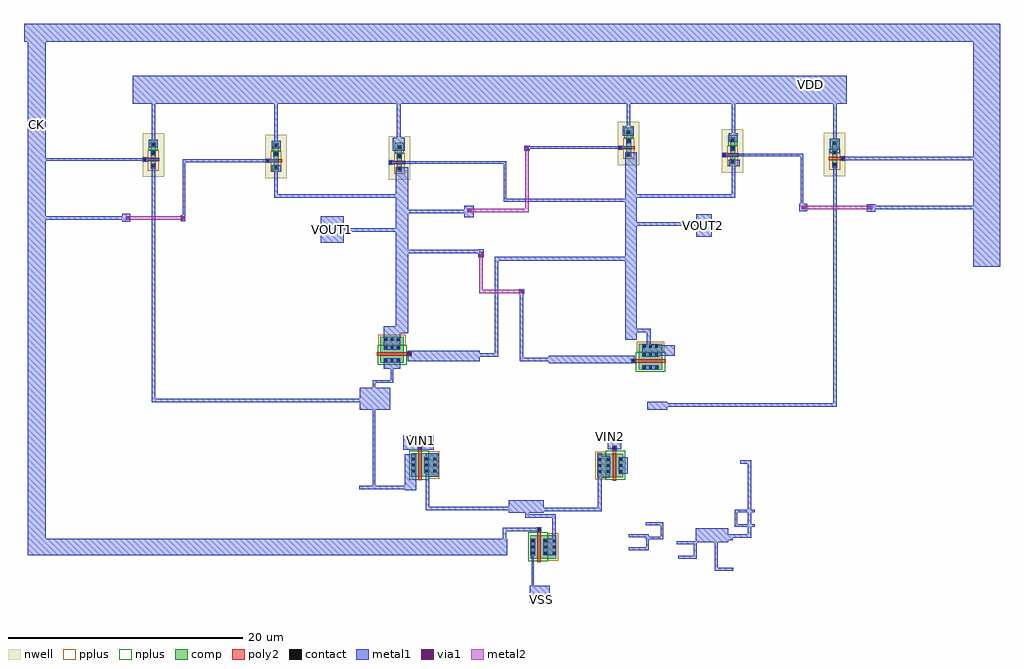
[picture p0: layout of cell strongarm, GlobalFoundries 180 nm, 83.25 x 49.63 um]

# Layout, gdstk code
from math import pi, radians
import gdstk
lib = gdstk.Library(unit=1e-6, precision=5e-09)
def R(c, l, rs):  # rectangles x0, y0, x1, y1
    for r in rs: c.add(gdstk.rectangle(r[:2], r[2:], *l))
def A(c, l, x, y, w, h, nx, ny, dx, dy):  # array of equal rectangles
    R(c, l, [(x+i*dx, y+j*dy, x+i*dx+w, y+j*dy+h) for i in range(nx) for j in range(ny)])
nwell = (21, 0)
comp = (22, 0)
poly2 = (30, 0)
pplus = (31, 0)
nplus = (32, 0)
contact = (33, 0)
metal1 = (34, 0)
via1 = (35, 0)
metal2 = (36, 0)

nfet = lib.new_cell('nfet')
R(nfet, comp, [(-0.42,0,0,2), (0,0,0.66,2), (0.66,0,1.08,2), (1.08,0,1.79,2)])
R(nfet, poly2, [(0.19,-0.3,0.47,2.3), (0.15,2.3,0.51,2.66)])
R(nfet, pplus, [(1.08,-0.17,1.96,2.17)])
R(nfet, nplus, [(-0.59,-0.24,1.08,2.24)])
A(nfet, contact, -0.32, 0.38, 0.22, 0.22, 1, 3, 0, 0.51)
A(nfet, contact, 0.76, 0.38, 0.22, 0.22, 1, 3, 0, 0.51)
A(nfet, contact, 1.47, 0.38, 0.22, 0.22, 1, 3, 0, 0.51)
R(nfet, contact, [(0.22,2.37,0.44,2.59)])
R(nfet, metal1, [(-0.4,0.3,-0.02,1.7), (0.68,0.3,1.06,1.7), (1.39,0.3,1.77,1.7), (0.14,2.29,0.52,2.67)])

pfet = lib.new_cell('pfet')
R(pfet, nwell, [(-1.16,-0.71,2.55,1.13)])
R(pfet, comp, [(-0.46,-0.01,0,0.43), (0.66,-0.01,1.12,0.43), (1.12,-0.01,1.85,0.43), (0,0,0.66,0.42)])
R(pfet, poly2, [(0.19,-0.3,0.47,0.72), (0.14,0.72,0.52,1.1)])
R(pfet, pplus, [(-0.63,-0.25,1.12,0.67)])
R(pfet, nplus, [(1.12,-0.17,2.02,0.59)])
R(pfet, contact, [(-0.34,0.1,-0.12,0.32), (0.78,0.1,1,0.32), (1.51,0.1,1.73,0.32), (0.22,0.8,0.44,1.02)])
R(pfet, metal1, [(-0.42,0.02,-0.04,0.4), (0.7,0.02,1.08,0.4), (1.43,0.02,1.81,0.4), (0.14,0.72,0.52,1.1)])

strongarm = lib.new_cell('strongarm')
R(strongarm, metal1, [(3.12,-19.96,4.85,-18.46), (-39.71,-15.84,-7.19,-14.44), (-39.71,-15.84,-38.17,29.5), (-11.31,-15.84,1.22,-14.44), (4.47,-15.84,5.37,-14.44), (17.29,-14.75,20.07,-13.56), (1.35,-12.22,4.33,-11.18), (-7.52,-10.31,-6.56,-7.23), (8.93,-9.23,9.97,-7.36), (-5.735,-9.16,-4.63,-7.16), (10.71,-8.88,11.47,-7.48), (-7.66,-6.87,-5.07,-5.6), (9.79,-6.8,10.92,-5.53), (13.14,-3.45,14.85,-2.77), (-11.36,-3.44,-8.75,-1.57), (-9.31,0.04,-7.91,0.96), (4.76,0.53,12.1,1.15), (-7.29,0.68,-1.14,1.59), (12.73,1.16,15.51,2.08), (-9.31,1.66,-7.91,3.69), (11.26,2.52,12.27,18.51), (-8.29,3.09,-7.22,17.25), (2.2,6.4,2.65,6.85), (40.95,8.76,43.24,29.5), (-1.25,9.55,-0.78,10.24), (-14.7,10.82,-12.74,13.08), (17.31,11.31,18.64,13.23), (-31.62,12.58,-30.93,13.26), (-26.62,12.65,-26.24,13.14), (-2.47,13,-1.66,13.98), (31.87,13.44,32.58,14.1), (26.11,13.5,26.82,14.14), (-18.87,16.84,-18.05,17.4), (20.11,17.32,21.03,17.89), (28.7,18.43,29.56,19.68), (2.65,18.64,3.13,19.07), (-8.56,18.65,-7.53,19.76), (-18.89,18.88,-18.13,19.49), (-29.36,18.95,-28.6,19.53), (28.77,19.03,29.53,19.67), (20.11,19.41,20.87,20.15), (11.08,19.92,12.02,20.76), (-30.73,22.67,30.18,25.07), (-40.01,27.97,43.24,29.5)])
R(strongarm, via1, [(2.23,6.51,2.49,6.77), (-1.16,9.57,-0.9,9.83), (-31.27,12.76,-31.01,13.02), (-26.6,12.77,-26.34,13.03), (-2.12,13.44,-1.86,13.7), (26.42,13.68,26.68,13.94), (31.97,13.68,32.23,13.94), (2.76,18.69,3.02,18.95)])
strongarm.add(gdstk.FlexPath([(3.78,-11.95),(9.1,-11.95),(9.1,-7.17),(9.1,-7.17)], 0.3, ends="flush", simple_path=True, layer=34, datatype=0))  # metal1
strongarm.add(gdstk.FlexPath([(15.78,-16.02),(17.24,-16.02),(17.24,-14.79),(15.67,-14.79)], 0.23, ends="flush", simple_path=True, layer=34, datatype=0))  # metal1
strongarm.add(gdstk.FlexPath([(13.01,-14.39),(14.4,-14.39),(14.4,-13.16),(13.01,-13.16)], 0.23, ends="flush", simple_path=True, layer=34, datatype=0))  # metal1
strongarm.add(gdstk.FlexPath([(11.57,-15.3),(13.18,-15.3),(13.18,-14.18),(11.57,-14.18)], 0.23, ends="flush", simple_path=True, layer=34, datatype=0))  # metal1
strongarm.add(gdstk.FlexPath([(20.43,-14.45),(19.04,-14.45),(19.04,-17.05),(20.49,-17.05),(20.49,-17.05)], 0.23, ends="flush", simple_path=True, layer=34, datatype=0))  # metal1
strongarm.add(gdstk.FlexPath([(22.3,-13.3),(20.71,-13.3),(20.71,-12.07),(22.3,-12.07)], 0.23, ends="flush", simple_path=True, layer=34, datatype=0))  # metal1
strongarm.add(gdstk.FlexPath([(-6.73,-10.06),(-11.42,-10.06)], 0.3, ends="flush", simple_path=True, layer=34, datatype=0))  # metal1
strongarm.add(gdstk.FlexPath([(3.39,-14.63),(3.39,-20.13)], 0.2, ends="flush", simple_path=True, layer=34, datatype=0))  # metal1
strongarm.add(gdstk.FlexPath([(13.28,1.65),(13.28,3.33),(11.66,3.33),(11.66,3.33)], 0.3, ends="flush", simple_path=True, layer=34, datatype=0))  # metal1
strongarm.add(gdstk.FlexPath([(19.66,-14.2),(21.88,-14.2),(21.88,-7.88),(21.08,-7.88)], 0.3, ends="flush", simple_path=True, layer=34, datatype=0))  # metal1
strongarm.add(gdstk.FlexPath([(-8.61,0.39),(-8.61,-1.02),(-10.17,-1.02),(-10.17,-10.06)], 0.2, ends="flush", simple_path=True, layer=34, datatype=0))  # metal1
strongarm.add(gdstk.FlexPath([(3.93,-13.66),(0.96,-13.66),(0.96,-15.13),(0.96,-15.13)], 0.3, ends="flush", simple_path=True, layer=34, datatype=0))  # metal1
strongarm.add(gdstk.FlexPath([(1.8,-11.85),(-5.59,-11.85),(-5.59,-7.62),(-5.4,-7.62)], 0.3, ends="flush", simple_path=True, layer=34, datatype=0))  # metal1
strongarm.add(gdstk.FlexPath([(5.18,-15.65),(5.18,-12.52),(2.88,-12.52),(2.88,-11.5),(2.88,-11.5)], 0.3, ends="flush", simple_path=True, layer=34, datatype=0))  # metal1
strongarm.add(gdstk.FlexPath([(29.84,17.98),(42.06,17.98)], 0.3, ends="flush", simple_path=True, layer=34, datatype=0))  # metal1
strongarm.add(gdstk.FlexPath([(-3.93,1.21),(0.3,1.21),(0.3,9.44),(11.46,9.44),(11.46,9.62)], 0.3, ends="flush", simple_path=True, layer=34, datatype=0))  # metal1
strongarm.add(gdstk.FlexPath([(6.18,0.85),(2.43,0.85),(2.43,6.785),(2.43,6.785)], 0.3, ends="flush", simple_path=True, layer=34, datatype=0))  # metal1
strongarm.add(gdstk.FlexPath([(-0.88,10.045),(-7.88,10.045)], 0.3, ends="flush", simple_path=True, layer=34, datatype=0))  # metal1
strongarm.add(gdstk.FlexPath([(-7.95,11.88),(-13.73,11.88),(-13.73,11.96)], 0.3, ends="flush", simple_path=True, layer=34, datatype=0))  # metal1
strongarm.add(gdstk.FlexPath([(11.37,12.39),(17.86,12.39)], 0.3, ends="flush", simple_path=True, layer=34, datatype=0))  # metal1
strongarm.add(gdstk.FlexPath([(-8.69,17.66),(1.01,17.66),(1.01,14.43),(11.56,14.43),(11.56,14.58)], 0.23, ends="flush", simple_path=True, layer=34, datatype=0))  # metal1
strongarm.add(gdstk.FlexPath([(11.78,18.92),(2.74,18.92),(2.74,18.92)], 0.23, ends="flush", simple_path=True, layer=34, datatype=0))  # metal1
strongarm.add(gdstk.FlexPath([(-1.98,13.47),(-7.97,13.47),(-7.97,13.32)], 0.3, ends="flush", simple_path=True, layer=34, datatype=0))  # metal1
strongarm.add(gdstk.FlexPath([(-8.045,19.205),(-8.045,23.89),(-7.9,23.89)], 0.3, ends="flush", simple_path=True, layer=34, datatype=0))  # metal1
strongarm.add(gdstk.FlexPath([(11.57,20.43),(11.57,24.01)], 0.3, ends="flush", simple_path=True, layer=34, datatype=0))  # metal1
strongarm.add(gdstk.FlexPath([(-8.09,14.79),(-18.51,14.79),(-18.51,17.24),(-18.51,17.24)], 0.3, ends="extended", simple_path=True, layer=34, datatype=0))  # metal1
strongarm.add(gdstk.FlexPath([(-18.51,19.28),(-18.51,23.97),(-18.57,23.97)], 0.3, ends="flush", simple_path=True, layer=34, datatype=0))  # metal1
strongarm.add(gdstk.FlexPath([(-28.98,19.31),(-28.98,23.78),(-28.87,23.78)], 0.3, ends="flush", simple_path=True, layer=34, datatype=0))  # metal1
strongarm.add(gdstk.FlexPath([(-28.98,17.5),(-28.98,-2.67),(-9.69,-2.67),(-9.69,-2.67)], 0.3, ends="flush", simple_path=True, layer=34, datatype=0))  # metal1
strongarm.add(gdstk.FlexPath([(-18.3,17.8),(-26.35,17.8),(-26.35,12.71)], 0.23, ends="flush", simple_path=True, layer=34, datatype=0))  # metal1
strongarm.add(gdstk.FlexPath([(-28.47,17.91),(-39.09,17.91),(-39.09,18.13)], 0.23, ends="flush", simple_path=True, layer=34, datatype=0))  # metal1
strongarm.add(gdstk.FlexPath([(-31.31,12.9),(-39.05,12.9)], 0.3, ends="flush", simple_path=True, layer=34, datatype=0))  # metal1
strongarm.add(gdstk.FlexPath([(20.49,19.6),(20.49,23.83),(20.46,23.83)], 0.3, ends="flush", simple_path=True, layer=34, datatype=0))  # metal1
strongarm.add(gdstk.FlexPath([(29.15,19.35),(29.15,23.84),(29.13,23.84)], 0.3, ends="flush", simple_path=True, layer=34, datatype=0))  # metal1
strongarm.add(gdstk.FlexPath([(20.49,17.72),(20.49,14.8),(11.5,14.8)], 0.3, ends="flush", simple_path=True, layer=34, datatype=0))  # metal1
strongarm.add(gdstk.FlexPath([(29.15,17.42),(29.15,-3.05),(13.965,-3.05),(13.965,-3.12)], 0.3, ends="flush", simple_path=True, layer=34, datatype=0))  # metal1
strongarm.add(gdstk.FlexPath([(19.73,18.28),(26.35,18.28),(26.35,13.78)], 0.23, ends="flush", simple_path=True, layer=34, datatype=0))  # metal1
strongarm.add(gdstk.FlexPath([(32.165,13.815),(42.1,13.815),(42.1,14.06)], 0.3, ends="flush", simple_path=True, layer=34, datatype=0))  # metal1
strongarm.add(gdstk.FlexPath([(-31.33,12.9),(-26.27,12.9)], 0.3, ends="flush", simple_path=True, layer=36, datatype=0))  # metal2
strongarm.add(gdstk.FlexPath([(-1.03,10.025),(-1.03,6.64),(2.575,6.64)], 0.3, ends="flush", simple_path=True, layer=36, datatype=0))  # metal2
strongarm.add(gdstk.FlexPath([(-2.2,13.56),(2.885,13.56),(2.885,19.03)], 0.3, ends="flush", simple_path=True, layer=36, datatype=0))  # metal2
strongarm.add(gdstk.FlexPath([(32.34,13.81),(26.35,13.81)], 0.3, ends="flush", simple_path=True, layer=36, datatype=0))  # metal2
strongarm.add(gdstk.Reference(nfet, (10.69,-9.18), rotation=pi, x_reflection=True))
strongarm.add(gdstk.Reference(nfet, (-6.56,-9.16)))
strongarm.add(gdstk.Reference(nfet, (14.43,0.38), rotation=pi/2))
strongarm.add(gdstk.Reference(nfet, (-9.61,0.98), rotation=pi/2, x_reflection=True))
strongarm.add(gdstk.Reference(nfet, (3.6,-16.14)))
strongarm.add(gdstk.Reference(pfet, (11.78,18.58), rotation=pi/2))
strongarm.add(gdstk.Reference(pfet, (-18.3,17.47), rotation=pi/2))
strongarm.add(gdstk.Reference(pfet, (-7.78,17.33), rotation=pi/2))
strongarm.add(gdstk.Reference(pfet, (-28.77,17.58), rotation=pi/2))
strongarm.add(gdstk.Reference(pfet, (20.64,17.95), rotation=pi/2))
strongarm.add(gdstk.Reference(pfet, (28.93,17.65), rotation=pi/2, x_reflection=True))
strongarm.add(gdstk.Label('VIN1', (-6.12,-6.03), layer=34, texttype=10))
strongarm.add(gdstk.Label('VIN2', (10,-5.75), layer=34, texttype=10))
strongarm.add(gdstk.Label('VSS', (4.13,-19.64), layer=34, texttype=10))
strongarm.add(gdstk.Label('VOUT2', (17.975,12.27), layer=34, texttype=10))
strongarm.add(gdstk.Label('VDD', (27.04,24.34), layer=34, texttype=10))
strongarm.add(gdstk.Label('VOUT1', (-13.72,11.95), layer=34, texttype=10))
strongarm.add(gdstk.Label('CK', (-38.94,20.9), layer=34, texttype=10))

lib.write_gds('strongarm.gds')
